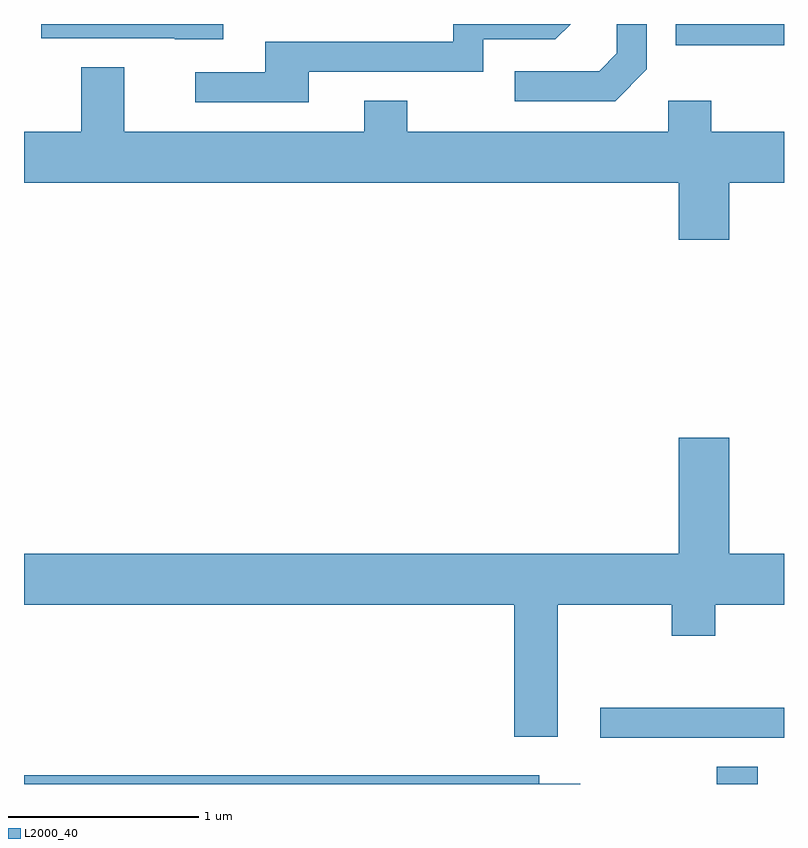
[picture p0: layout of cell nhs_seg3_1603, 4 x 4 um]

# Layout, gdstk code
import gdstk
lib = gdstk.Library(unit=1e-6, precision=1e-09)
def R(c, l, rs):  # rectangles x0, y0, x1, y1
    for r in rs: c.add(gdstk.rectangle(r[:2], r[2:], *l))
def P(c, l, *ps):  # polygons
    for p in ps: c.add(gdstk.Polygon(p, *l))
L2000_40 = (2000, 40)

nhs_seg3_1603 = lib.new_cell('nhs_seg3_1603')
R(nhs_seg3_1603, L2000_40, [(235.256,1193.892,235.474,1193.984), (234.643,1194.136,235.611,1194.294), (235.041,1197.781,235.611,1197.892)])
P(nhs_seg3_1603, L2000_40, [(234.889,1197.654),(234.889,1197.892),(234.731,1197.892),(234.731,1197.737),(234.639,1197.644),(234.193,1197.644),(234.193,1197.486),(234.722,1197.486)],
  [(232.659,1197.892),(231.701,1197.892),(231.701,1197.816),(232.405,1197.816),(232.405,1197.811),(232.659,1197.811)],
  [(233.109,1197.641),(234.029,1197.641),(234.029,1197.811),(234.407,1197.811),(234.488,1197.892),(233.871,1197.892),(233.871,1197.799),(232.881,1197.799),(232.881,1197.639),(232.513,1197.639),(232.513,1197.481),(233.109,1197.481)],
  [(235.324,1197.056),(235.611,1197.056),(235.611,1197.324),(235.229,1197.324),(235.229,1197.489),(235.001,1197.489),(235.001,1197.324),(233.629,1197.324),(233.629,1197.489),(233.401,1197.489),(233.401,1197.324),(232.139,1197.324),(232.139,1197.664),(231.911,1197.664),(231.911,1197.324),(231.611,1197.324),(231.611,1197.056),(235.056,1197.056),(235.056,1196.756),(235.324,1196.756)],
  [(234.419,1194.836),(235.021,1194.836),(235.021,1194.671),(235.249,1194.671),(235.249,1194.836),(235.611,1194.836),(235.611,1195.104),(235.324,1195.104),(235.324,1195.714),(235.056,1195.714),(235.056,1195.104),(231.611,1195.104),(231.611,1194.836),(234.191,1194.836),(234.191,1194.141),(234.419,1194.141)],
  [(234.539,1193.894),(234.324,1193.894),(234.324,1193.939),(231.611,1193.939),(231.611,1193.892),(234.539,1193.892)])

lib.write_gds('nhs_seg3_1603.gds')
